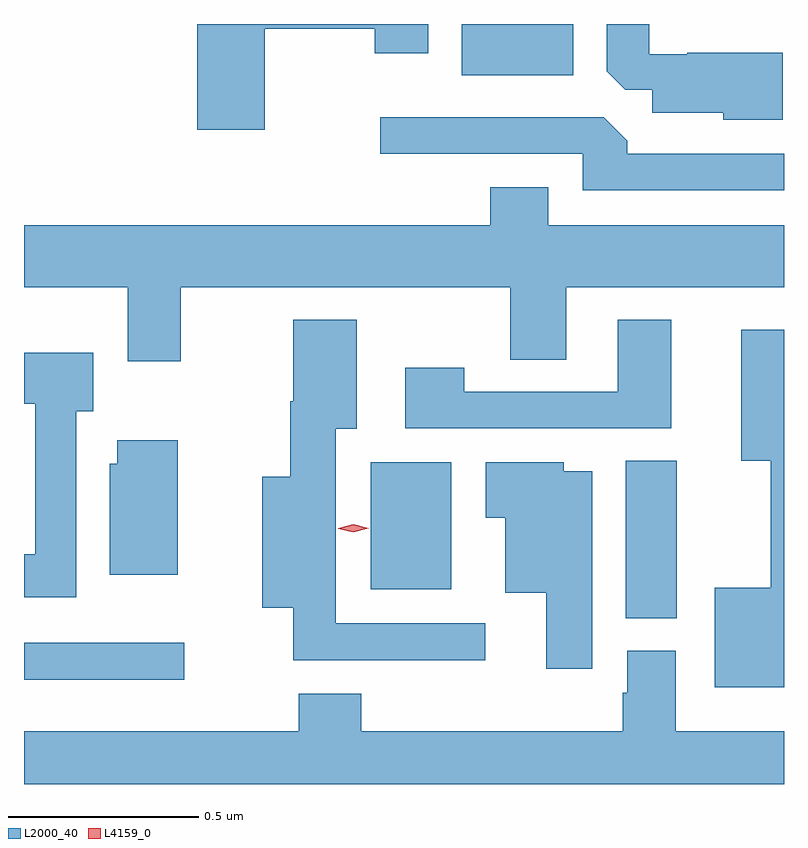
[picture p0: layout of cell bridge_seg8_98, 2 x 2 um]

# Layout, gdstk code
import gdstk
lib = gdstk.Library(unit=1e-6, precision=1e-09)
def R(c, l, rs):  # rectangles x0, y0, x1, y1
    for r in rs: c.add(gdstk.rectangle(r[:2], r[2:], *l))
def P(c, l, *ps):  # polygons
    for p in ps: c.add(gdstk.Polygon(p, *l))
L2000_40 = (2000, 40)
L4159_0 = (4159, 0)

bridge_seg8_98 = lib.new_cell('bridge_seg8_98')
R(bridge_seg8_98, L2000_40, [(689.906,1156.76,690.328,1156.857), (691.49,1156.921,691.624,1157.336), (690.818,1156.997,691.03,1157.332), (691.058,1158.35,691.351,1158.485)])
P(bridge_seg8_98, L2000_40, [(690.54,1158.472),(690.829,1158.472),(690.829,1158.408),(690.97,1158.408),(690.97,1158.485),(690.362,1158.485),(690.362,1158.207),(690.54,1158.207)],
  [(691.903,1158.409),(691.651,1158.409),(691.651,1158.405),(691.551,1158.405),(691.551,1158.485),(691.439,1158.485),(691.439,1158.361),(691.488,1158.312),(691.559,1158.312),(691.559,1158.251),(691.746,1158.251),(691.746,1158.233),(691.903,1158.233)],
  [(691.906,1158.144),(691.493,1158.144),(691.493,1158.178),(691.431,1158.24),(690.843,1158.24),(690.843,1158.144),(691.377,1158.144),(691.377,1158.048),(691.906,1158.048)],
  [(690.319,1157.792),(691.186,1157.792),(691.186,1157.602),(691.333,1157.602),(691.333,1157.792),(691.906,1157.792),(691.906,1157.956),(691.285,1157.956),(691.285,1158.055),(691.133,1158.055),(691.133,1157.956),(689.906,1157.956),(689.906,1157.792),(690.179,1157.792),(690.179,1157.598),(690.319,1157.598)],
  [(691.12,1156.908),(690.727,1156.908),(690.727,1157.42),(690.781,1157.42),(690.781,1157.707),(690.614,1157.707),(690.614,1157.492),(690.607,1157.492),(690.607,1157.293),(690.533,1157.293),(690.533,1156.949),(690.614,1156.949),(690.614,1156.811),(691.12,1156.811)],
  [(691.609,1157.707),(691.469,1157.707),(691.469,1157.517),(691.065,1157.517),(691.065,1157.581),(690.909,1157.581),(690.909,1157.421),(691.609,1157.421)],
  [(691.906,1157.68),(691.793,1157.68),(691.793,1157.336),(691.871,1157.336),(691.871,1157.002),(691.724,1157.002),(691.724,1156.739),(691.906,1156.739)],
  [(690.043,1157.466),(690.088,1157.466),(690.088,1157.62),(689.906,1157.62),(689.906,1157.486),(689.936,1157.486),(689.936,1157.09),(689.906,1157.09),(689.906,1156.977),(690.043,1156.977)],
  [(690.31,1157.389),(690.152,1157.389),(690.152,1157.328),(690.131,1157.328),(690.131,1157.036),(690.31,1157.036)],
  [(691.402,1157.308),(691.326,1157.308),(691.326,1157.332),(691.121,1157.332),(691.121,1157.186),(691.172,1157.186),(691.172,1156.988),(691.28,1156.988),(691.28,1156.788),(691.402,1156.788)],
  [(691.906,1156.624),(691.621,1156.624),(691.621,1156.836),(691.493,1156.836),(691.493,1156.725),(691.481,1156.725),(691.481,1156.624),(690.794,1156.624),(690.794,1156.723),(690.629,1156.723),(690.629,1156.624),(689.906,1156.624),(689.906,1156.485),(691.906,1156.485)])
P(bridge_seg8_98, L4159_0, [(690.773,1157.148),(690.733,1157.157),(690.733,1157.158),(690.733,1157.158),(690.773,1157.168),(690.813,1157.158),(690.813,1157.158),(690.813,1157.158)])

lib.write_gds('bridge_seg8_98.gds')
